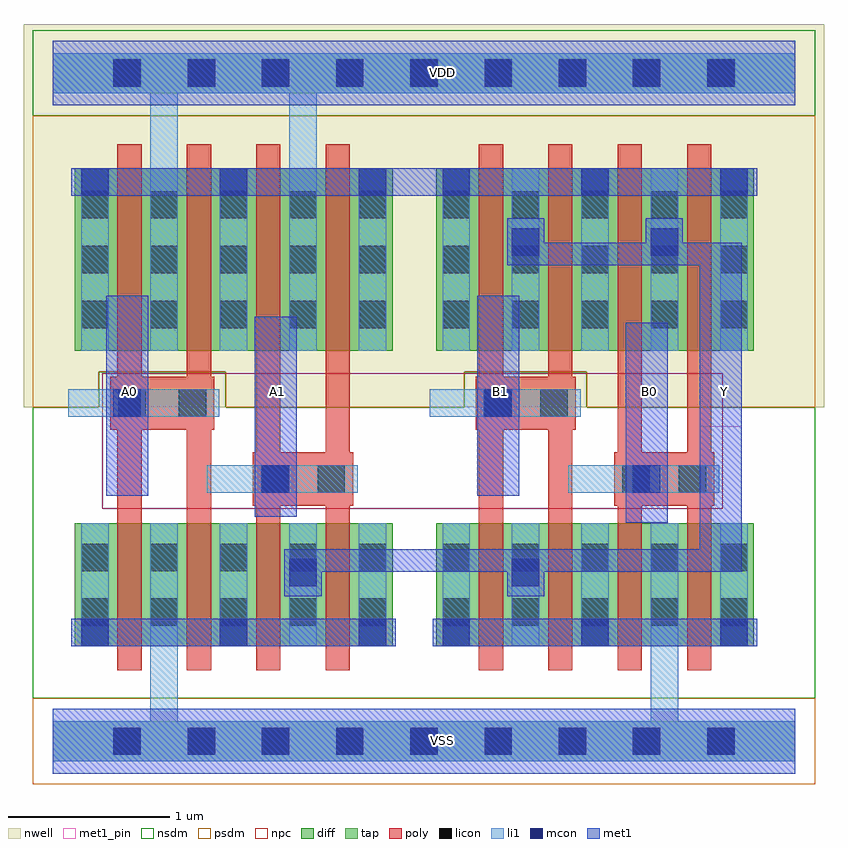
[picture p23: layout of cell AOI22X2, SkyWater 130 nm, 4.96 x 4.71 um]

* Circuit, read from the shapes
.subckt AOI22X2 A0 A1 B0 B1 VDD VSS Y
XM1 VSS A0 n1 VSS sky130_fd_pr__nfet_01v8 w=0.76 l=0.15 m=2
XM2 Y A1 n1 VSS sky130_fd_pr__nfet_01v8 w=0.76 l=0.15 m=2
XM3 Y B1 n2 VSS sky130_fd_pr__nfet_01v8 w=0.76 l=0.15 m=2
XM4 VSS B0 n2 VSS sky130_fd_pr__nfet_01v8 w=0.76 l=0.15 m=2
XM5 VDD A0 n3 VDD sky130_fd_pr__pfet_01v8 w=1.13 l=0.15 m=2
XM6 VDD A1 n3 VDD sky130_fd_pr__pfet_01v8 w=1.13 l=0.15 m=2
XM7 Y B1 n3 VDD sky130_fd_pr__pfet_01v8 w=1.13 l=0.15 m=2
XM8 Y B0 n3 VDD sky130_fd_pr__pfet_01v8 w=1.13 l=0.15 m=2
.ends

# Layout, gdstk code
from math import pi, radians
import gdstk
lib = gdstk.Library(unit=1e-6, precision=1e-09)
def R(c, l, rs):  # rectangles x0, y0, x1, y1
    for r in rs: c.add(gdstk.rectangle(r[:2], r[2:], *l))
def A(c, l, x, y, w, h, nx, ny, dx, dy):  # array of equal rectangles
    R(c, l, [(x+i*dx, y+j*dy, x+i*dx+w, y+j*dy+h) for i in range(nx) for j in range(ny)])
def P(c, l, *ps):  # polygons
    for p in ps: c.add(gdstk.Polygon(p, *l))
nwell = (64, 20)
diff = (65, 20)
tap = (65, 44)
poly = (66, 20)
licon = (66, 44)
li1 = (67, 20)
mcon = (67, 44)
met1_pin = (68, 16)
met1 = (68, 20)
nsdm = (93, 44)
psdm = (94, 20)
npc = (95, 20)

nfet_01v8_cdns_716492285 = lib.new_cell('nfet_01v8_CDNS_71649228522125')
R(nfet_01v8_cdns_716492285, diff, [(-0.055,0,0,0.76), (0,0,0.15,0.76), (0.15,0,0.43,0.76), (0.43,0,0.58,0.76), (0.58,0,0.845,0.76)])
R(nfet_01v8_cdns_716492285, poly, [(0,-0.15,0.15,-0.095), (0.43,-0.15,0.58,-0.095), (0,-0.095,0.15,0), (0.43,-0.095,0.58,0), (0,0,0.15,0.76), (0.43,0,0.58,0.76), (0,0.76,0.15,0.855), (0.43,0.76,0.58,0.855), (0,0.855,0.15,0.91), (0.43,0.855,0.58,0.91)])
R(nfet_01v8_cdns_716492285, licon, [(0.205,0.125,0.375,0.295), (0.635,0.125,0.805,0.295), (0.205,0.465,0.375,0.635), (0.635,0.465,0.805,0.635)])
R(nfet_01v8_cdns_716492285, li1, [(0.205,0,0.375,0.76), (0.635,0,0.805,0.76)])
R(nfet_01v8_cdns_716492285, nsdm, [(-0.065,-0.13,0.985,0.89)])

pfet_01v8_cdns_716492285 = lib.new_cell('pfet_01v8_CDNS_71649228522138')
R(pfet_01v8_cdns_716492285, nwell, [(-0.445,-0.18,0.815,1.31)])
R(pfet_01v8_cdns_716492285, diff, [(-0.265,0,0,1.13), (0,0,0.15,1.13), (0.15,0,0.43,1.13), (0.43,0,0.58,1.13), (0.58,0,0.635,1.13)])
R(pfet_01v8_cdns_716492285, poly, [(0,-0.15,0.15,-0.095), (0.43,-0.15,0.58,-0.095), (0,-0.095,0.15,0), (0.43,-0.095,0.58,0), (0,0,0.15,1.13), (0.43,0,0.58,1.13), (0,1.13,0.15,1.225), (0.43,1.13,0.58,1.225), (0,1.225,0.15,1.28), (0.43,1.225,0.58,1.28)])
A(pfet_01v8_cdns_716492285, licon, -0.225, 0.14, 0.17, 0.17, 1, 3, 0, 0.34)
A(pfet_01v8_cdns_716492285, licon, 0.205, 0.14, 0.17, 0.17, 1, 3, 0, 0.34)
R(pfet_01v8_cdns_716492285, li1, [(-0.225,0,-0.055,1.13), (0.205,0,0.375,1.13)])
R(pfet_01v8_cdns_716492285, psdm, [(-0.405,-0.13,0.645,1.26)])

c_pfet_01v8_cdns_716492285 = lib.new_cell('pfet_01v8_CDNS_7164922852267')
R(c_pfet_01v8_cdns_716492285, nwell, [(-0.445,-0.18,0.985,1.31)])
R(c_pfet_01v8_cdns_716492285, diff, [(-0.265,0,0,1.13), (0,0,0.15,1.13), (0.15,0,0.43,1.13), (0.43,0,0.58,1.13), (0.58,0,0.805,1.13)])
R(c_pfet_01v8_cdns_716492285, poly, [(0,-0.15,0.15,-0.095), (0.43,-0.15,0.58,-0.095), (0,-0.095,0.15,0), (0.43,-0.095,0.58,0), (0,0,0.15,1.13), (0.43,0,0.58,1.13), (0,1.13,0.15,1.225), (0.43,1.13,0.58,1.225), (0,1.225,0.15,1.28), (0.43,1.225,0.58,1.28)])
A(c_pfet_01v8_cdns_716492285, licon, -0.225, 0.14, 0.17, 0.17, 3, 3, 0.43, 0.34)
A(c_pfet_01v8_cdns_716492285, li1, -0.225, 0, 0.17, 1.13, 3, 1, 0.43, 0)
R(c_pfet_01v8_cdns_716492285, psdm, [(-0.405,-0.13,0.815,1.26)])

c_pfet_01v8_cdns_716492285_ = lib.new_cell('pfet_01v8_CDNS_71649228522122')
R(c_pfet_01v8_cdns_716492285_, nwell, [(-0.235,-0.18,1.025,1.31)])
R(c_pfet_01v8_cdns_716492285_, diff, [(-0.055,0,0,1.13), (0,0,0.15,1.13), (0.15,0,0.43,1.13), (0.43,0,0.58,1.13), (0.58,0,0.845,1.13)])
R(c_pfet_01v8_cdns_716492285_, poly, [(0,-0.15,0.15,-0.095), (0.43,-0.15,0.58,-0.095), (0,-0.095,0.15,0), (0.43,-0.095,0.58,0), (0,0,0.15,1.13), (0.43,0,0.58,1.13), (0,1.13,0.15,1.225), (0.43,1.13,0.58,1.225), (0,1.225,0.15,1.28), (0.43,1.225,0.58,1.28)])
A(c_pfet_01v8_cdns_716492285_, licon, 0.205, 0.14, 0.17, 0.17, 1, 3, 0, 0.34)
A(c_pfet_01v8_cdns_716492285_, licon, 0.635, 0.14, 0.17, 0.17, 1, 3, 0, 0.34)
R(c_pfet_01v8_cdns_716492285_, li1, [(0.205,0,0.375,1.13), (0.635,0,0.805,1.13)])
R(c_pfet_01v8_cdns_716492285_, psdm, [(-0.065,-0.13,0.985,1.26)])

c_nfet_01v8_cdns_716492285 = lib.new_cell('nfet_01v8_CDNS_71649228522124')
R(c_nfet_01v8_cdns_716492285, diff, [(-0.265,0,0,0.76), (0,0,0.15,0.76), (0.15,0,0.43,0.76), (0.43,0,0.58,0.76), (0.58,0,0.805,0.76)])
R(c_nfet_01v8_cdns_716492285, poly, [(0,-0.15,0.15,-0.095), (0.43,-0.15,0.58,-0.095), (0,-0.095,0.15,0), (0.43,-0.095,0.58,0), (0,0,0.15,0.76), (0.43,0,0.58,0.76), (0,0.76,0.15,0.855), (0.43,0.76,0.58,0.855), (0,0.855,0.15,0.91), (0.43,0.855,0.58,0.91)])
A(c_nfet_01v8_cdns_716492285, licon, -0.225, 0.125, 0.17, 0.17, 3, 2, 0.43, 0.34)
A(c_nfet_01v8_cdns_716492285, li1, -0.225, 0, 0.17, 0.76, 3, 1, 0.43, 0)
R(c_nfet_01v8_cdns_716492285, nsdm, [(-0.405,-0.13,0.815,0.89)])

c_pfet_01v8_cdns_716492285__ = lib.new_cell('pfet_01v8_CDNS_71649228522141')
R(c_pfet_01v8_cdns_716492285__, nwell, [(-0.405,-0.18,1.025,1.31)])
R(c_pfet_01v8_cdns_716492285__, diff, [(-0.225,0,0,1.13), (0,0,0.15,1.13), (0.15,0,0.43,1.13), (0.43,0,0.58,1.13), (0.58,0,0.845,1.13)])
R(c_pfet_01v8_cdns_716492285__, poly, [(0,-0.15,0.15,-0.095), (0.43,-0.15,0.58,-0.095), (0,-0.095,0.15,0), (0.43,-0.095,0.58,0), (0,0,0.15,1.13), (0.43,0,0.58,1.13), (0,1.13,0.15,1.225), (0.43,1.13,0.58,1.225), (0,1.225,0.15,1.28), (0.43,1.225,0.58,1.28)])
A(c_pfet_01v8_cdns_716492285__, licon, -0.225, 0.14, 0.17, 0.17, 3, 3, 0.43, 0.34)
A(c_pfet_01v8_cdns_716492285__, li1, -0.225, 0, 0.17, 1.13, 3, 1, 0.43, 0)
R(c_pfet_01v8_cdns_716492285__, psdm, [(-0.235,-0.13,0.985,1.26)])

l1m1_c_cdns_716492285223 = lib.new_cell('L1M1_C_CDNS_7164922852238')
R(l1m1_c_cdns_716492285223, li1, [(-0.085,-0.165,0.085,0.085)])
R(l1m1_c_cdns_716492285223, mcon, [(-0.085,-0.085,0.085,0.085)])
R(l1m1_c_cdns_716492285223, met1, [(-0.115,-0.085,0.115,0.085)])

pyl1con_c_cdns_716492285 = lib.new_cell('PYL1CON_C_CDNS_716492285220')
R(pyl1con_c_cdns_716492285, poly, [(-0.135,-0.165,0.135,0.165)])
R(pyl1con_c_cdns_716492285, licon, [(-0.085,-0.085,0.085,0.085)])
R(pyl1con_c_cdns_716492285, npc, [(-0.185,-0.185,0.185,0.185)])

l1m1_c_cdns_716492285222 = lib.new_cell('L1M1_C_CDNS_716492285222')
R(l1m1_c_cdns_716492285222, li1, [(-0.085,-0.165,0.085,0.165)])
R(l1m1_c_cdns_716492285222, mcon, [(-0.085,-0.085,0.085,0.085)])
R(l1m1_c_cdns_716492285222, met1, [(-0.115,-0.145,0.115,0.145)])

c_l1m1_c_cdns_716492285223 = lib.new_cell('L1M1_C_CDNS_716492285223')
R(c_l1m1_c_cdns_716492285223, li1, [(-0.165,-0.085,0.165,0.085)])
R(c_l1m1_c_cdns_716492285223, mcon, [(-0.085,-0.085,0.085,0.085)])
R(c_l1m1_c_cdns_716492285223, met1, [(-0.115,-0.145,0.115,0.145)])

c_l1m1_c_cdns_716492285222 = lib.new_cell('L1M1_C_CDNS_7164922852228')
R(c_l1m1_c_cdns_716492285222, li1, [(-0.085,-0.085,0.085,0.165)])
R(c_l1m1_c_cdns_716492285222, mcon, [(-0.085,-0.085,0.085,0.085)])
R(c_l1m1_c_cdns_716492285222, met1, [(-0.115,-0.085,0.115,0.085)])

c_l1m1_c_cdns_716492285222_ = lib.new_cell('L1M1_C_CDNS_7164922852229')
R(c_l1m1_c_cdns_716492285222_, li1, [(-0.085,-0.085,0.085,0.165)])
R(c_l1m1_c_cdns_716492285222_, mcon, [(-0.085,-0.085,0.085,0.085)])
R(c_l1m1_c_cdns_716492285222_, met1, [(-0.115,-0.085,0.145,0.085)])

aoi22x2 = lib.new_cell('AOI22X2')
R(aoi22x2, nwell, [(-0.18,2.07,4.78,4.305), (-0.18,3.875,4.78,4.445)])
A(aoi22x2, licon, 0.375, -0.085, 0.17, 0.17, 9, 2, 0.46, 4.14)
A(aoi22x2, mcon, 0.375, -0.085, 0.17, 0.17, 9, 2, 0.46, 4.14)
R(aoi22x2, met1_pin, [(3.55,1.355,3.81,2.595), (1.25,1.39,1.51,2.63), (0.33,1.52,0.59,2.76), (2.63,1.52,2.89,2.76), (4.01,1.95,4.27,3.09)])
R(aoi22x2, nsdm, [(-0.125,3.875,4.725,4.405), (-0.125,3.93,4.725,4.35)])
P(aoi22x2, nsdm, [(4.725,2.07),(3.31,2.07),(3.31,2.29),(2.55,2.29),(2.55,2.07),(1.07,2.07),(1.07,2.29),(0.285,2.29),(0.285,2.07),(-0.125,2.07),(-0.125,0.265),(4.725,0.265)])
R(aoi22x2, psdm, [(-0.125,-0.265,4.725,0.265), (-0.125,-0.21,4.725,0.21)])
P(aoi22x2, psdm, [(4.725,3.875),(-0.125,3.875),(-0.125,2.07),(0.285,2.07),(0.285,2.29),(1.07,2.29),(1.07,2.07),(2.55,2.07),(2.55,2.29),(3.31,2.29),(3.31,2.07),(4.725,2.07)])
R(aoi22x2, npc, [(0.305,1.44,4.15,2.28)])
aoi22x2.add(gdstk.FlexPath([(3.79,0.59),(3.79,0)], 0.17, ends="flush", simple_path=True, layer=67, datatype=20))  # li1
aoi22x2.add(gdstk.FlexPath([(0.69,0.59),(0.69,0)], 0.17, ends=(0, 0.125), simple_path=True, layer=67, datatype=20))  # li1
aoi22x2.add(gdstk.FlexPath([(0,0),(0.69,0)], 0.25, ends=(0, 0.085), simple_path=True, layer=67, datatype=20))  # li1
aoi22x2.add(gdstk.FlexPath([(2.47,0),(3.42,0)], 0.25, ends=(0.085, 0.085), simple_path=True, layer=67, datatype=20))  # li1
aoi22x2.add(gdstk.FlexPath([(3.42,0),(4.34,0)], 0.25, ends=(0.085, 0.085), simple_path=True, layer=67, datatype=20))  # li1
aoi22x2.add(gdstk.FlexPath([(4.34,0),(4.6,0)], 0.25, ends=(0.085, 0), simple_path=True, layer=67, datatype=20))  # li1
aoi22x2.add(gdstk.FlexPath([(0.69,0),(2.47,0)], 0.25, ends=(0.085, 0.085), simple_path=True, layer=67, datatype=20))  # li1
aoi22x2.add(gdstk.FlexPath([(0.955,1.625),(1.89,1.625)], 0.17, ends="flush", simple_path=True, layer=67, datatype=20))  # li1
aoi22x2.add(gdstk.FlexPath([(2.335,2.095),(3.27,2.095)], 0.17, ends="flush", simple_path=True, layer=67, datatype=20))  # li1
aoi22x2.add(gdstk.FlexPath([(3.195,1.625),(4.13,1.625)], 0.17, ends="flush", simple_path=True, layer=67, datatype=20))  # li1
aoi22x2.add(gdstk.FlexPath([(0.095,2.095),(1.03,2.095)], 0.17, ends="flush", simple_path=True, layer=67, datatype=20))  # li1
aoi22x2.add(gdstk.FlexPath([(1.55,3.55),(1.55,4.14)], 0.17, ends="flush", simple_path=True, layer=67, datatype=20))  # li1
aoi22x2.add(gdstk.FlexPath([(0,4.14),(0.69,4.14)], 0.25, ends=(0, 0.085), simple_path=True, layer=67, datatype=20))  # li1
aoi22x2.add(gdstk.FlexPath([(2.47,4.14),(3.42,4.14)], 0.25, ends=(0.085, 0.085), simple_path=True, layer=67, datatype=20))  # li1
aoi22x2.add(gdstk.FlexPath([(3.42,4.14),(4.34,4.14)], 0.25, ends=(0.085, 0.085), simple_path=True, layer=67, datatype=20))  # li1
aoi22x2.add(gdstk.FlexPath([(4.34,4.14),(4.6,4.14)], 0.25, ends=(0.085, 0), simple_path=True, layer=67, datatype=20))  # li1
aoi22x2.add(gdstk.FlexPath([(0.69,3.55),(0.69,4.14)], 0.17, ends=(0, 0.125), simple_path=True, layer=67, datatype=20))  # li1
aoi22x2.add(gdstk.FlexPath([(0.69,4.14),(2.47,4.14)], 0.25, ends=(0.085, 0.085), simple_path=True, layer=67, datatype=20))  # li1
aoi22x2.add(gdstk.FlexPath([(0.49,2.095),(0.865,2.095)], 0.33, ends="flush", simple_path=True, layer=66, datatype=20))  # poly
aoi22x2.add(gdstk.FlexPath([(4.005,2.27),(4.005,2.095)], 0.15, ends=(0, 0.165), simple_path=True, layer=66, datatype=20))  # poly
aoi22x2.add(gdstk.FlexPath([(1.35,1.625),(1.725,1.625)], 0.33, ends="flush", simple_path=True, layer=66, datatype=20))  # poly
aoi22x2.add(gdstk.FlexPath([(0.475,2.27),(0.475,1.5)], 0.15, ends="flush", simple_path=True, layer=66, datatype=20))  # poly
aoi22x2.add(gdstk.FlexPath([(1.335,2.27),(1.335,1.5)], 0.15, ends="flush", simple_path=True, layer=66, datatype=20))  # poly
aoi22x2.add(gdstk.FlexPath([(2.715,2.27),(2.715,1.5)], 0.15, ends="flush", simple_path=True, layer=66, datatype=20))  # poly
aoi22x2.add(gdstk.FlexPath([(3.575,2.27),(3.575,1.5)], 0.15, ends="flush", simple_path=True, layer=66, datatype=20))  # poly
aoi22x2.add(gdstk.FlexPath([(2.755,2.095),(3.13,2.095)], 0.33, ends="flush", simple_path=True, layer=66, datatype=20))  # poly
aoi22x2.add(gdstk.FlexPath([(3.595,1.625),(3.97,1.625)], 0.33, ends="flush", simple_path=True, layer=66, datatype=20))  # poly
aoi22x2.add(gdstk.FlexPath([(3.145,2.095),(3.145,1.5)], 0.15, ends=(0.165, 0), simple_path=True, layer=66, datatype=20))  # poly
aoi22x2.add(gdstk.FlexPath([(0.905,2.27),(0.905,2.095)], 0.15, ends=(0, 0.165), simple_path=True, layer=66, datatype=20))  # poly
aoi22x2.add(gdstk.FlexPath([(1.765,2.27),(1.765,1.625)], 0.15, ends=(0, 0.165), simple_path=True, layer=66, datatype=20))  # poly
aoi22x2.add(gdstk.FlexPath([(3.145,2.27),(3.145,2.095)], 0.15, ends=(0, 0.165), simple_path=True, layer=66, datatype=20))  # poly
aoi22x2.add(gdstk.FlexPath([(4.005,2.095),(4.005,1.5)], 0.15, ends=(0.165, 0), simple_path=True, layer=66, datatype=20))  # poly
aoi22x2.add(gdstk.FlexPath([(1.765,1.625),(1.765,1.5)], 0.15, ends=(0.165, 0), simple_path=True, layer=66, datatype=20))  # poly
aoi22x2.add(gdstk.FlexPath([(0.905,2.095),(0.905,1.5)], 0.15, ends=(0.165, 0), simple_path=True, layer=66, datatype=20))  # poly
aoi22x2.add(gdstk.FlexPath([(0,0),(4.6,0)], 0.25, ends="flush", simple_path=True, layer=65, datatype=44))  # tap
aoi22x2.add(gdstk.FlexPath([(0,4.14),(4.6,4.14)], 0.25, ends="flush", simple_path=True, layer=65, datatype=44))  # tap
aoi22x2.add(gdstk.FlexPath([(4.14,1.195),(4.14,1.05)], 0.26, ends=(0.145, 0), simple_path=True, layer=68, datatype=20))  # met1
aoi22x2.add(gdstk.FlexPath([(2.355,0.675),(4.365,0.675)], 0.17, ends="flush", simple_path=True, layer=68, datatype=20))  # met1
aoi22x2.add(gdstk.FlexPath([(0.115,0.675),(2.125,0.675)], 0.17, ends="flush", simple_path=True, layer=68, datatype=20))  # met1
aoi22x2.add(gdstk.FlexPath([(0.46,2.76),(0.46,1.52)], 0.26, ends="flush", simple_path=True, layer=68, datatype=20))  # met1
aoi22x2.add(gdstk.FlexPath([(1.435,1.12),(3.36,1.12)], 0.14, ends=(0, 0.115), simple_path=True, layer=68, datatype=20))  # met1
aoi22x2.add(gdstk.FlexPath([(4.27,1.12),(3.36,1.12)], 0.14, ends=(0, 0.115), simple_path=True, layer=68, datatype=20))  # met1
aoi22x2.add(gdstk.FlexPath([(4.27,3.02),(3.36,3.02)], 0.14, ends=(0, 0.115), simple_path=True, layer=68, datatype=20))  # met1
aoi22x2.add(gdstk.FlexPath([(2.815,3.02),(3.36,3.02)], 0.14, ends=(0, 0.115), simple_path=True, layer=68, datatype=20))  # met1
aoi22x2.add(gdstk.FlexPath([(4.14,3.09),(4.14,1.195)], 0.26, ends=(0, 0.145), simple_path=True, layer=68, datatype=20))  # met1
aoi22x2.add(gdstk.FlexPath([(3.68,2.595),(3.68,1.355)], 0.26, ends="flush", simple_path=True, layer=68, datatype=20))  # met1
aoi22x2.add(gdstk.FlexPath([(0.115,3.465),(4.11,3.465)], 0.17, ends="flush", simple_path=True, layer=68, datatype=20))  # met1
aoi22x2.add(gdstk.FlexPath([(0,0),(4.6,0)], 0.4, ends="flush", simple_path=True, layer=68, datatype=20))  # met1
aoi22x2.add(gdstk.FlexPath([(1.38,2.63),(1.38,1.39)], 0.26, ends="flush", simple_path=True, layer=68, datatype=20))  # met1
aoi22x2.add(gdstk.FlexPath([(2.76,2.76),(2.76,1.52)], 0.26, ends="flush", simple_path=True, layer=68, datatype=20))  # met1
aoi22x2.add(gdstk.FlexPath([(0,4.14),(4.6,4.14)], 0.4, ends="flush", simple_path=True, layer=68, datatype=20))  # met1
aoi22x2.add(gdstk.FlexPath([(0,0),(4.6,0)], 0.4, ends="flush", simple_path=True, layer=68, datatype=16))  # met1_pin
aoi22x2.add(gdstk.FlexPath([(0,4.14),(4.6,4.14)], 0.4, ends="flush", simple_path=True, layer=68, datatype=16))  # met1_pin
aoi22x2.add(gdstk.Reference(nfet_01v8_cdns_716492285, (3.5,0.59)))
aoi22x2.add(gdstk.Reference(nfet_01v8_cdns_716492285, (1.26,0.59)))
aoi22x2.add(gdstk.Reference(pfet_01v8_cdns_716492285, (2.64,2.42)))
aoi22x2.add(gdstk.Reference(c_pfet_01v8_cdns_716492285, (0.4,2.42)))
aoi22x2.add(gdstk.Reference(c_pfet_01v8_cdns_716492285_, (1.26,2.42)))
aoi22x2.add(gdstk.Reference(c_nfet_01v8_cdns_716492285, (2.64,0.59)))
aoi22x2.add(gdstk.Reference(c_nfet_01v8_cdns_716492285, (0.4,0.59)))
aoi22x2.add(gdstk.Reference(c_pfet_01v8_cdns_716492285__, (3.5,2.42)))
aoi22x2.add(gdstk.Reference(l1m1_c_cdns_716492285223, (4.22,0.675), x_reflection=True))
aoi22x2.add(gdstk.Reference(l1m1_c_cdns_716492285223, (3.36,0.675), x_reflection=True))
aoi22x2.add(gdstk.Reference(l1m1_c_cdns_716492285223, (2.5,0.675), x_reflection=True))
aoi22x2.add(gdstk.Reference(l1m1_c_cdns_716492285223, (1.98,0.675), x_reflection=True))
aoi22x2.add(gdstk.Reference(l1m1_c_cdns_716492285223, (1.12,0.675), x_reflection=True))
aoi22x2.add(gdstk.Reference(l1m1_c_cdns_716492285223, (0.26,0.675), x_reflection=True))
aoi22x2.add(gdstk.Reference(pyl1con_c_cdns_716492285, (3.965,1.625), rotation=pi, x_reflection=True))
aoi22x2.add(gdstk.Reference(pyl1con_c_cdns_716492285, (3.615,1.625), rotation=pi, x_reflection=True))
aoi22x2.add(gdstk.Reference(pyl1con_c_cdns_716492285, (2.755,2.095), rotation=pi, x_reflection=True))
aoi22x2.add(gdstk.Reference(pyl1con_c_cdns_716492285, (3.105,2.095), rotation=pi, x_reflection=True))
aoi22x2.add(gdstk.Reference(pyl1con_c_cdns_716492285, (1.375,1.625), rotation=pi, x_reflection=True))
aoi22x2.add(gdstk.Reference(pyl1con_c_cdns_716492285, (1.725,1.625), rotation=pi, x_reflection=True))
aoi22x2.add(gdstk.Reference(pyl1con_c_cdns_716492285, (0.865,2.095), rotation=pi, x_reflection=True))
aoi22x2.add(gdstk.Reference(pyl1con_c_cdns_716492285, (0.49,2.095), rotation=pi, x_reflection=True))
aoi22x2.add(gdstk.Reference(l1m1_c_cdns_716492285222, (3.79,3.095), x_reflection=True))
aoi22x2.add(gdstk.Reference(l1m1_c_cdns_716492285222, (2.93,1.045), x_reflection=True))
aoi22x2.add(gdstk.Reference(l1m1_c_cdns_716492285222, (1.55,1.045), x_reflection=True))
aoi22x2.add(gdstk.Reference(l1m1_c_cdns_716492285222, (2.93,3.095), x_reflection=True))
aoi22x2.add(gdstk.Reference(c_l1m1_c_cdns_716492285223, (0.46,2.095)))
aoi22x2.add(gdstk.Reference(c_l1m1_c_cdns_716492285223, (3.68,1.625)))
aoi22x2.add(gdstk.Reference(c_l1m1_c_cdns_716492285223, (2.76,2.095)))
aoi22x2.add(gdstk.Reference(c_l1m1_c_cdns_716492285223, (1.38,1.625)))
aoi22x2.add(gdstk.Reference(c_l1m1_c_cdns_716492285222, (2.5,3.465), x_reflection=True))
aoi22x2.add(gdstk.Reference(c_l1m1_c_cdns_716492285222, (3.36,3.465), x_reflection=True))
aoi22x2.add(gdstk.Reference(c_l1m1_c_cdns_716492285222, (1.98,3.465), x_reflection=True))
aoi22x2.add(gdstk.Reference(c_l1m1_c_cdns_716492285222, (0.26,3.465), x_reflection=True))
aoi22x2.add(gdstk.Reference(c_l1m1_c_cdns_716492285222, (1.12,3.465), x_reflection=True))
aoi22x2.add(gdstk.Reference(c_l1m1_c_cdns_716492285222_, (4.22,3.465), x_reflection=True))
aoi22x2.add(gdstk.Label('VDD', (2.415,4.145), layer=68, texttype=5))
aoi22x2.add(gdstk.Label('B1', (2.775,2.165), layer=68, texttype=5))
aoi22x2.add(gdstk.Label('A1', (1.395,2.165), layer=68, texttype=5))
aoi22x2.add(gdstk.Label('Y', (4.165,2.165), layer=68, texttype=5))
aoi22x2.add(gdstk.Label('A0', (0.475,2.165), layer=68, texttype=5))
aoi22x2.add(gdstk.Label('B0', (3.695,2.165), layer=68, texttype=5))
aoi22x2.add(gdstk.Label('VSS', (2.415,0.005), layer=68, texttype=5))

lib.write_gds('AOI22X2.gds')
